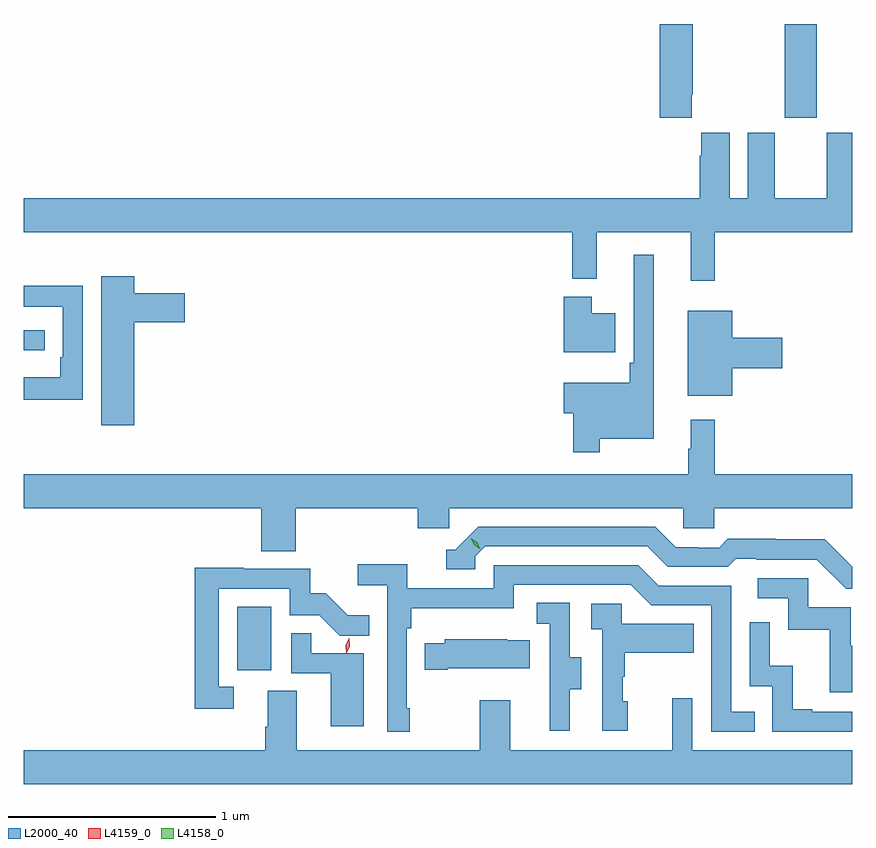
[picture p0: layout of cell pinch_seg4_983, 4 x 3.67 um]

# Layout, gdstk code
import gdstk
lib = gdstk.Library(unit=1e-6, precision=1e-09)
def R(c, l, rs):  # rectangles x0, y0, x1, y1
    for r in rs: c.add(gdstk.rectangle(r[:2], r[2:], *l))
def P(c, l, *ps):  # polygons
    for p in ps: c.add(gdstk.Polygon(p, *l))
L2000_40 = (2000, 40)
L4158_0 = (4158, 0)
L4159_0 = (4159, 0)

pinch_seg4_983 = lib.new_cell('pinch_seg4_983')
R(pinch_seg4_983, L2000_40, [(830.21,782.718,830.374,783.025), (829.18,784.263,829.282,784.359), (832.855,785.385,833.01,785.838)])
P(pinch_seg4_983, L2000_40, [(832.405,785.497),(832.41,785.497),(832.41,785.838),(832.25,785.838),(832.25,785.385),(832.405,785.385)],
  [(833.18,785.314),(833.057,785.314),(833.057,784.996),(832.807,784.996),(832.807,785.314),(832.676,785.314),(832.676,784.996),(832.588,784.996),(832.588,785.314),(832.451,785.314),(832.451,785.201),(832.445,785.201),(832.445,784.996),(829.18,784.996),(829.18,784.832),(831.829,784.832),(831.829,784.607),(831.947,784.607),(831.947,784.832),(832.4,784.832),(832.4,784.599),(832.517,784.599),(832.517,784.832),(833.18,784.832)],
  [(831.961,783.836),(832.222,783.836),(832.222,784.723),(832.125,784.723),(832.125,784.201),(832.105,784.201),(832.105,784.105),(831.788,784.105),(831.788,783.958),(831.832,783.958),(831.832,783.771),(831.961,783.771)],
  [(829.714,784.397),(829.957,784.397),(829.957,784.539),(829.714,784.539),(829.714,784.621),(829.553,784.621),(829.553,783.9),(829.714,783.9)],
  [(829.464,784.574),(829.18,784.574),(829.18,784.473),(829.368,784.473),(829.368,784.228),(829.355,784.228),(829.355,784.132),(829.18,784.132),(829.18,784.023),(829.464,784.023)],
  [(832.036,784.441),(831.922,784.441),(831.922,784.522),(831.788,784.522),(831.788,784.253),(832.036,784.253)],
  [(832.6,784.175),(832.843,784.175),(832.843,784.322),(832.6,784.322),(832.6,784.453),(832.385,784.453),(832.385,784.043),(832.6,784.043)],
  [(830.492,783.5),(831.083,783.5),(831.083,783.402),(831.234,783.402),(831.234,783.5),(832.365,783.5),(832.365,783.402),(832.515,783.402),(832.515,783.5),(833.18,783.5),(833.18,783.664),(832.517,783.664),(832.517,783.928),(832.4,783.928),(832.4,783.788),(832.389,783.788),(832.389,783.664),(829.18,783.664),(829.18,783.5),(830.327,783.5),(830.327,783.292),(830.492,783.292)],
  [(833.18,783.217),(833.048,783.349),(832.812,783.349),(832.812,783.352),(832.579,783.352),(832.537,783.309),(832.434,783.309),(832.434,783.312),(832.327,783.312),(832.228,783.411),(831.375,783.411),(831.264,783.3),(831.221,783.3),(831.221,783.204),(831.36,783.204),(831.36,783.267),(831.408,783.315),(832.191,783.315),(832.29,783.216),(832.579,783.216),(832.618,783.255),(832.717,783.255),(832.717,783.252),(833.01,783.252),(833.151,783.111),(833.18,783.111)],
  [(831.043,782.533),(831.03,782.533),(831.03,782.921),(831.05,782.921),(831.05,783.017),(831.546,783.017),(831.546,783.129),(832.11,783.129),(832.209,783.03),(832.5,783.03),(832.5,782.421),(832.709,782.421),(832.709,782.517),(832.596,782.517),(832.596,783.126),(832.246,783.126),(832.147,783.225),(831.45,783.225),(831.45,783.114),(831.032,783.114),(831.032,783.23),(830.793,783.23),(830.793,783.128),(830.934,783.128),(830.934,782.421),(831.043,782.421)],
  [(830.194,782.637),(830.121,782.637),(830.121,783.111),(830.463,783.111),(830.463,782.982),(830.607,782.982),(830.705,782.884),(830.849,782.884),(830.849,782.983),(830.745,782.983),(830.638,783.09),(830.562,783.09),(830.562,783.207),(830.243,783.207),(830.243,783.212),(830.005,783.212),(830.005,782.532),(830.194,782.532)],
  [(833.18,782.835),(833.173,782.835),(833.173,783.021),(832.968,783.021),(832.968,783.162),(832.725,783.162),(832.725,783.066),(832.872,783.066),(832.872,782.913),(833.071,782.913),(833.071,782.61),(833.18,782.61)],
  [(831.817,782.626),(831.871,782.626),(831.871,782.781),(831.816,782.781),(831.816,783.044),(831.657,783.044),(831.657,782.941),(831.72,782.941),(831.72,782.637),(831.719,782.637),(831.719,782.424),(831.817,782.424)],
  [(832.096,782.568),(832.071,782.568),(832.071,782.687),(832.081,782.687),(832.081,782.801),(832.415,782.801),(832.415,782.941),(832.068,782.941),(832.068,783.039),(831.921,783.039),(831.921,782.915),(831.972,782.915),(831.972,782.424),(832.096,782.424)],
  [(833.18,782.517),(832.987,782.517),(832.987,782.53),(832.892,782.53),(832.892,782.738),(832.782,782.738),(832.782,782.95),(832.686,782.95),(832.686,782.64),(832.794,782.64),(832.794,782.421),(833.18,782.421)],
  [(830.821,782.799),(830.567,782.799),(830.567,782.897),(830.472,782.897),(830.472,782.703),(830.663,782.703),(830.663,782.448),(830.821,782.448)],
  [(831.226,782.726),(831.623,782.726),(831.623,782.863),(831.515,782.863),(831.515,782.866),(831.213,782.866),(831.213,782.848),(831.115,782.848),(831.115,782.719),(831.226,782.719)],
  [(833.18,782.332),(832.407,782.332),(832.407,782.581),(832.31,782.581),(832.31,782.332),(831.529,782.332),(831.529,782.572),(831.382,782.572),(831.382,782.332),(830.497,782.332),(830.497,782.618),(830.357,782.618),(830.357,782.444),(830.345,782.444),(830.345,782.332),(829.18,782.332),(829.18,782.168),(833.18,782.168)])
P(pinch_seg4_983, L4158_0, [(831.384,783.301),(831.354,783.322),(831.339,783.355),(831.339,783.355),(831.339,783.355),(831.369,783.335),(831.384,783.302),(831.384,783.301)])
P(pinch_seg4_983, L4159_0, [(830.738,782.796),(830.738,782.797),(830.735,782.837),(830.751,782.874),(830.751,782.875),(830.751,782.874),(830.755,782.834),(830.738,782.797)])

lib.write_gds('pinch_seg4_983.gds')
